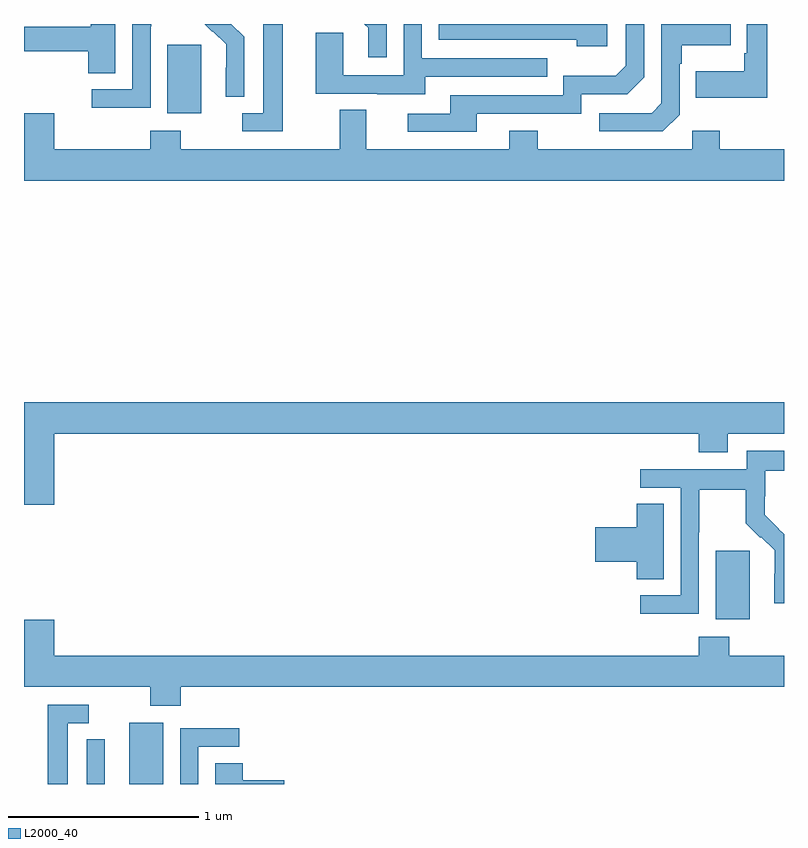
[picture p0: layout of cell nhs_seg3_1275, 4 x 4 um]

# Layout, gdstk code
import gdstk
lib = gdstk.Library(unit=1e-6, precision=1e-09)
def R(c, l, rs):  # rectangles x0, y0, x1, y1
    for r in rs: c.add(gdstk.rectangle(r[:2], r[2:], *l))
def P(c, l, *ps):  # polygons
    for p in ps: c.add(gdstk.Polygon(p, *l))
L2000_40 = (2000, 40)

nhs_seg3_1275 = lib.new_cell('nhs_seg3_1275')
R(nhs_seg3_1275, L2000_40, [(177.554,704.4,177.733,704.722), (180.641,705.266,180.82,705.627), (177.755,707.93,177.934,708.291)])
P(nhs_seg3_1275, L2000_40, [(180.45,707.922),(180.45,708.191),(180.463,708.191),(180.463,708.287),(180.719,708.287),(180.719,708.4),(180.354,708.4),(180.354,707.982),(180.303,707.931),(180.027,707.931),(180.027,707.835),(180.363,707.835)],
  [(178.908,708.4),(178.792,708.4),(178.811,708.381),(178.811,708.225),(178.908,708.225)],
  [(179.113,708.123),(179.753,708.123),(179.753,708.219),(179.094,708.219),(179.094,708.4),(178.998,708.4),(178.998,708.129),(178.68,708.129),(178.68,708.353),(178.535,708.353),(178.535,708.033),(178.859,708.033),(178.859,708.029),(179.113,708.029)],
  [(180.913,708.4),(180.804,708.4),(180.804,708.247),(180.792,708.247),(180.792,708.151),(180.535,708.151),(180.535,708.011),(180.913,708.011)],
  [(179.383,707.928),(179.934,707.928),(179.934,708.03),(180.174,708.03),(180.264,708.12),(180.264,708.4),(180.168,708.4),(180.168,708.18),(180.115,708.127),(179.838,708.127),(179.838,708.024),(179.243,708.024),(179.243,707.928),(179.019,707.928),(179.019,707.832),(179.383,707.832)],
  [(177.481,708.4),(177.35,708.4),(177.35,708.385),(177,708.385),(177,708.256),(177.338,708.256),(177.338,708.142),(177.481,708.142)],
  [(177.666,708.388),(177.669,708.388),(177.669,708.4),(177.57,708.4),(177.57,708.057),(177.357,708.057),(177.357,707.959),(177.666,707.959)],
  [(178.158,708.334),(178.092,708.4),(177.95,708.4),(177.99,708.36),(177.993,708.363),(178.064,708.293),(178.064,708.17),(178.062,708.17),(178.062,708.016),(178.158,708.016)],
  [(180.07,708.4),(179.184,708.4),(179.184,708.318),(179.909,708.318),(179.909,708.284),(180.07,708.284)],
  [(178.363,708.4),(178.259,708.4),(178.259,707.931),(178.149,707.931),(178.149,707.835),(178.363,707.835)],
  [(181,707.74),(180.663,707.74),(180.663,707.839),(180.516,707.839),(180.516,707.74),(179.703,707.74),(179.703,707.839),(179.555,707.839),(179.555,707.74),(178.801,707.74),(178.801,707.948),(178.661,707.948),(178.661,707.74),(177.825,707.74),(177.825,707.839),(177.665,707.839),(177.665,707.74),(177.16,707.74),(177.16,707.929),(177,707.929),(177,707.576),(181,707.576)],
  [(177.16,706.244),(180.551,706.244),(180.551,706.145),(180.703,706.145),(180.703,706.244),(181,706.244),(181,706.408),(177,706.408),(177,705.87),(177.16,705.87)],
  [(180.552,705.724),(180.555,705.724),(180.555,705.948),(180.799,705.948),(180.799,705.773),(180.876,705.696),(180.879,705.699),(180.95,705.629),(180.95,705.506),(180.948,705.506),(180.948,705.352),(181,705.352),(181,705.714),(180.971,705.743),(180.972,705.744),(180.898,705.818),(180.898,705.915),(180.9,705.915),(180.9,706.049),(181,706.049),(181,706.153),(180.804,706.153),(180.804,706.056),(180.243,706.056),(180.243,705.96),(180.456,705.96),(180.456,705.393),(180.243,705.393),(180.243,705.295),(180.552,705.295)],
  [(180.367,705.875),(180.224,705.875),(180.224,705.752),(180.006,705.752),(180.006,705.569),(180.224,705.569),(180.224,705.478),(180.367,705.478)],
  [(177.824,704.912),(181,704.912),(181,705.076),(180.711,705.076),(180.711,705.175),(180.551,705.175),(180.551,705.076),(177.16,705.076),(177.16,705.265),(177,705.265),(177,704.912),(177.664,704.912),(177.664,704.813),(177.824,704.813)],
  [(177.229,704.721),(177.34,704.721),(177.34,704.817),(177.125,704.817),(177.125,704.4),(177.229,704.4)],
  [(177.918,704.595),(178.132,704.595),(178.132,704.694),(177.822,704.694),(177.822,704.4),(177.918,704.4)],
  [(177.425,704.482),(177.426,704.482),(177.426,704.636),(177.33,704.636),(177.33,704.4),(177.425,704.4)],
  [(178.369,704.42),(178.151,704.42),(178.151,704.51),(178.007,704.51),(178.007,704.4),(178.369,704.4)])

lib.write_gds('nhs_seg3_1275.gds')
